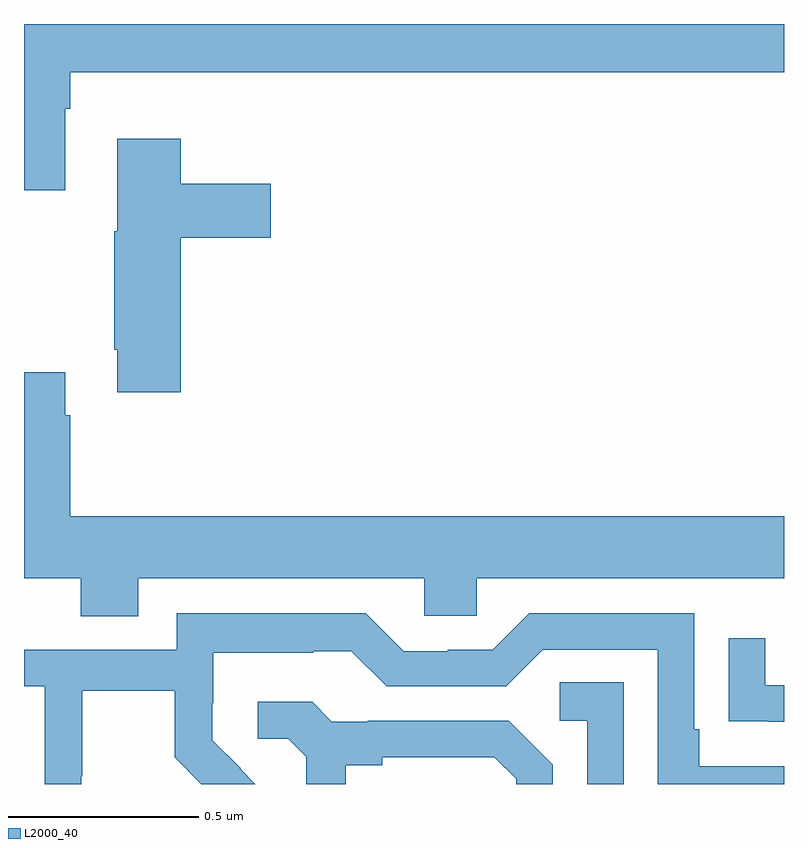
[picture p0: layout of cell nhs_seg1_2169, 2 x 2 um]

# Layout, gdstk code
import gdstk
lib = gdstk.Library(unit=1e-6, precision=1e-09)
def P(c, l, *ps):  # polygons
    for p in ps: c.add(gdstk.Polygon(p, *l))
L2000_40 = (2000, 40)

nhs_seg1_2169 = lib.new_cell('nhs_seg1_2169')
P(nhs_seg1_2169, L2000_40, [(138.109,544.976),(138.122,544.976),(138.122,545.072),(140,545.072),(140,545.199),(138,545.199),(138,544.761),(138.109,544.761)],
  [(138.413,544.637),(138.649,544.637),(138.649,544.779),(138.413,544.779),(138.413,544.897),(138.245,544.897),(138.245,544.653),(138.238,544.653),(138.238,544.342),(138.245,544.342),(138.245,544.23),(138.413,544.23)],
  [(138,544.282),(138,543.74),(138.149,543.74),(138.149,543.641),(138.301,543.641),(138.301,543.74),(139.053,543.74),(139.053,543.642),(139.191,543.642),(139.191,543.74),(140,543.74),(140,543.904),(138.122,543.904),(138.122,544.169),(138.109,544.169),(138.109,544.282)],
  [(138.15,543.22),(138.153,543.22),(138.153,543.444),(138.397,543.444),(138.397,543.269),(138.467,543.199),(138.609,543.199),(138.569,543.239),(138.57,543.24),(138.496,543.314),(138.496,543.411),(138.498,543.411),(138.498,543.545),(138.761,543.545),(138.761,543.549),(138.861,543.549),(138.954,543.456),(139.269,543.456),(139.365,543.552),(139.668,543.552),(139.668,543.199),(140,543.199),(140,543.246),(139.777,543.246),(139.777,543.343),(139.764,543.343),(139.764,543.648),(139.329,543.648),(139.233,543.552),(139.115,543.552),(139.115,543.549),(138.999,543.549),(138.899,543.649),(138.402,543.649),(138.402,543.552),(138,543.552),(138,543.456),(138.054,543.456),(138.054,543.199),(138.15,543.199)],
  [(140,543.459),(139.951,543.459),(139.951,543.583),(139.855,543.583),(139.855,543.364),(139.957,543.364),(139.957,543.363),(140,543.363)],
  [(139.578,543.467),(139.41,543.467),(139.41,543.366),(139.482,543.366),(139.482,543.199),(139.578,543.199)],
  [(138.847,543.248),(138.943,543.248),(138.943,543.27),(139.238,543.27),(139.295,543.213),(139.295,543.199),(139.392,543.199),(139.392,543.25),(139.276,543.366),(138.904,543.366),(138.904,543.363),(138.81,543.363),(138.758,543.415),(138.615,543.415),(138.615,543.318),(138.696,543.318),(138.743,543.271),(138.743,543.199),(138.847,543.199)])

lib.write_gds('nhs_seg1_2169.gds')
